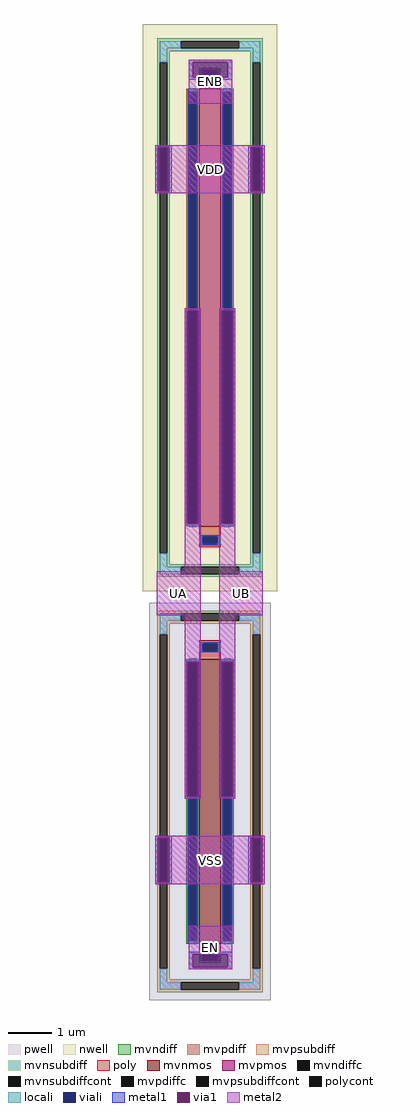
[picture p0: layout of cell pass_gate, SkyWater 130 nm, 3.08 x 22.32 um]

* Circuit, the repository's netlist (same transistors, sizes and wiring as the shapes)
** sch_path: /foss/designs/matrix-dac/xschem/pass_gate.sch
.subckt pass_gate VDD ENB UA UB EN VSS
*.PININFO VSS:B VDD:B UA:B UB:B EN:I ENB:I
XM1 UA EN UB VSS sky130_fd_pr__nfet_g5v0d10v5 L=0.5 W=6.5 nf=1 m=1
XM2 UA ENB UB VDD sky130_fd_pr__pfet_g5v0d10v5 L=0.5 W=10 nf=1 m=1
.ends
.end

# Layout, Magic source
magic
tech sky130A
magscale 1 2
<< locali >>
rect 210 4210 410 4300
rect 210 140 410 220
<< viali >>
rect 78 3699 112 3900
rect 504 3699 538 3900
rect 78 539 112 742
rect 504 539 538 742
<< metal1 >>
rect 210 4290 410 4300
rect 210 4220 230 4290
rect 390 4220 410 4290
rect 210 4210 410 4220
rect 58 3900 132 3910
rect 58 3699 68 3900
rect 122 3699 132 3900
rect 58 3689 132 3699
rect 484 3900 558 3910
rect 484 3699 494 3900
rect 548 3699 558 3900
rect 484 3689 558 3699
rect 192 3155 266 3165
rect 192 2179 202 3155
rect 256 2179 266 3155
rect 192 2169 266 2179
rect 350 3155 424 3165
rect 350 2179 360 3155
rect 414 2179 424 3155
rect 350 2169 424 2179
rect 192 1546 266 1556
rect 192 930 202 1546
rect 256 930 266 1546
rect 192 920 266 930
rect 350 1546 424 1556
rect 350 930 360 1546
rect 414 930 424 1546
rect 350 920 424 930
rect 58 742 132 752
rect 58 539 68 742
rect 122 539 132 742
rect 58 529 132 539
rect 484 742 558 752
rect 484 539 494 742
rect 548 539 558 742
rect 484 529 558 539
rect 210 210 410 220
rect 210 150 230 210
rect 390 150 410 210
rect 210 140 410 150
<< via1 >>
rect 230 4220 390 4290
rect 68 3699 78 3900
rect 78 3699 112 3900
rect 112 3699 122 3900
rect 494 3699 504 3900
rect 504 3699 538 3900
rect 538 3699 548 3900
rect 202 2179 256 3155
rect 360 2179 414 3155
rect 202 930 256 1546
rect 360 930 414 1546
rect 68 539 78 742
rect 78 539 112 742
rect 112 539 122 742
rect 494 539 504 742
rect 504 539 538 742
rect 538 539 548 742
rect 230 150 390 210
<< metal2 >>
rect 210 4290 410 4300
rect 210 4220 230 4290
rect 390 4220 410 4290
rect 210 4100 410 4220
rect 58 3900 558 3910
rect 58 3699 68 3900
rect 122 3699 494 3900
rect 548 3699 558 3900
rect 58 3689 558 3699
rect 192 3155 266 3165
rect 192 2179 202 3155
rect 256 2179 266 3155
rect 192 1960 266 2179
rect 65 1760 266 1960
rect 192 1546 266 1760
rect 192 930 202 1546
rect 256 930 266 1546
rect 192 920 266 930
rect 350 3155 424 3165
rect 350 2179 360 3155
rect 414 2179 424 3155
rect 350 1960 424 2179
rect 350 1760 550 1960
rect 350 1546 424 1760
rect 350 930 360 1546
rect 414 930 424 1546
rect 350 920 424 930
rect 58 742 558 752
rect 58 539 68 742
rect 122 539 494 742
rect 548 539 558 742
rect 58 529 558 539
rect 210 210 410 340
rect 210 150 230 210
rect 390 150 410 210
rect 210 140 410 150
use sky130_fd_pr__nfet_g5v0d10v5_TMGAGH  XM1
transform 1 0 308 0 1 908
box -278 -908 278 908
use sky130_fd_pr__pfet_g5v0d10v5_KLP5N5  XM2
transform 1 0 308 0 1 3167
box -308 -1297 308 1297
<< labels >>
flabel metal2 210 140 410 340 0 FreeSans 256 0 0 0 EN
port 5 nsew
flabel metal2 210 4100 410 4300 0 FreeSans 256 0 0 0 ENB
port 2 nsew
flabel metal2 65 1760 265 1960 0 FreeSans 256 0 0 0 UA
port 3 nsew
flabel metal2 350 1760 550 1960 0 FreeSans 256 0 0 0 UB
port 4 nsew
flabel metal2 210 540 410 740 0 FreeSans 256 0 0 0 VSS
port 6 nsew
flabel metal2 210 3700 410 3900 0 FreeSans 256 0 0 0 VDD
port 1 nsew
<< end >>

# cell sky130_fd_pr__nfet_g5v0d10v5_TMGAGH: kit device sky130_fd_pr__nfet_g5v0d10v5, w 6.5 l 0.5 m 1 nf 1 diffcov 100 polycov 100 guard 1 glc 1 grc 1 gtc 1 gbc 1 tbcov 100 rlcov 100 topc 1 botc 1 poverlap 0 doverlap 1 lmin 0.50 wmin 0.42 compatible {sky130_fd_pr__nfet_01v8 sky130_fd_pr__nfet_01v8_lvt sky130_fd_bs_flash__special_sonosfet_star sky130_fd_pr__nfet_g5v0d10v5 sky130_fd_pr__nfet_05v0_nvt sky130_fd_pr__nfet_03v3_nvt} full_metal 1 viasrc 100 viadrn 100 viagate 100 viagb 0 viagr 0 viagl 0 viagt 0

# cell sky130_fd_pr__pfet_g5v0d10v5_KLP5N5: kit device sky130_fd_pr__pfet_g5v0d10v5, w 10.0 l 0.5 m 1 nf 1 diffcov 100 polycov 100 guard 1 glc 1 grc 1 gtc 1 gbc 1 tbcov 100 rlcov 100 topc 1 botc 1 poverlap 0 doverlap 1 lmin 0.50 wmin 0.42 compatible {sky130_fd_pr__pfet_01v8 sky130_fd_pr__pfet_01v8_lvt sky130_fd_pr__pfet_01v8_hvt sky130_fd_pr__pfet_g5v0d10v5} full_metal 1 viasrc 100 viadrn 100 viagate 100 viagb 0 viagr 0 viagl 0 viagt 0
